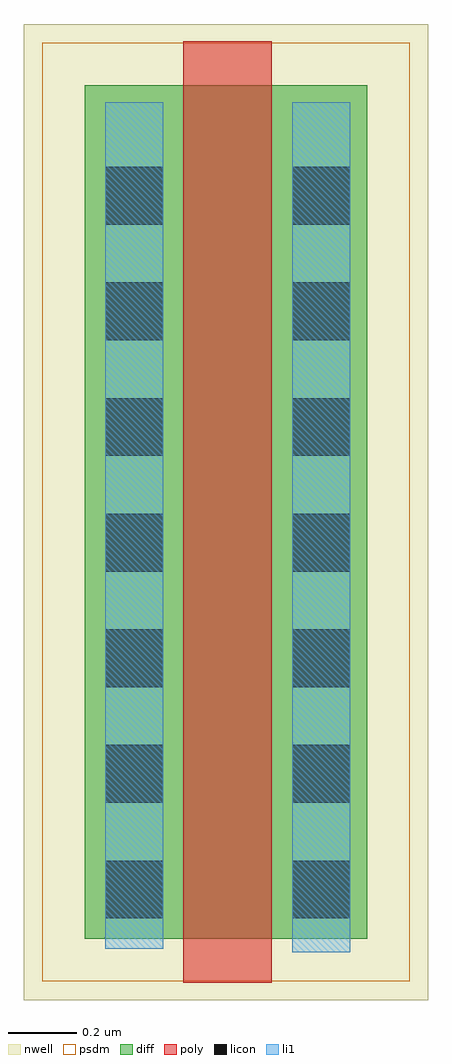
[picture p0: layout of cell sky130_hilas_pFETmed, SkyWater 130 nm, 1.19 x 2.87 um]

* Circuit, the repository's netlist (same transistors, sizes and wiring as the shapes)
* NGSPICE file created from /home/bjmuld/work/hilas/fastlane/PDKs/sky130A_hilas/libs.ref/sky130_hilas_sc/mag/sky130_hilas_pFETmed.ext - technology: sky130A


* Top level circuit /home/bjmuld/work/hilas/fastlane/PDKs/sky130A_hilas/libs.ref/sky130_hilas_sc/mag/sky130_hilas_pFETmed

X0 a_440_n8# a_388_n34# a_330_n8# w_294_n44# sky130_fd_pr__pfet_01v8 w=2.51e+06u l=260000u
.end

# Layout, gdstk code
import gdstk
lib = gdstk.Library(unit=1e-6, precision=1e-09)
def R(c, l, rs):  # rectangles x0, y0, x1, y1
    for r in rs: c.add(gdstk.rectangle(r[:2], r[2:], *l))
def A(c, l, x, y, w, h, nx, ny, dx, dy):  # array of equal rectangles
    R(c, l, [(x+i*dx, y+j*dy, x+i*dx+w, y+j*dy+h) for i in range(nx) for j in range(ny)])
nwell = (64, 20)
diff = (65, 20)
poly = (66, 20)
licon = (66, 44)
li1 = (67, 20)
psdm = (94, 20)

sky130_hilas_pfetmed = lib.new_cell('sky130_hilas_pFETmed')
R(sky130_hilas_pfetmed, nwell, [(0,0,1.19,2.87)])
R(sky130_hilas_pfetmed, diff, [(0.18,0.18,1.01,2.69)])
R(sky130_hilas_pfetmed, poly, [(0.47,0.05,0.73,2.82)])
A(sky130_hilas_pfetmed, licon, 0.24, 0.24, 0.17, 0.17, 1, 7, 0, 0.34)
A(sky130_hilas_pfetmed, licon, 0.79, 0.24, 0.17, 0.17, 1, 7, 0, 0.34)
R(sky130_hilas_pfetmed, li1, [(0.79,0.14,0.96,2.64), (0.24,0.15,0.41,2.64)])
R(sky130_hilas_pfetmed, psdm, [(0.055,0.055,1.135,2.815)])

lib.write_gds('sky130_hilas_pFETmed.gds')
